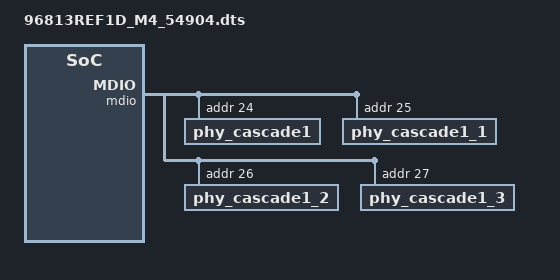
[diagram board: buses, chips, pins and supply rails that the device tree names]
#include "96813REF1D_M4.dts"

&mdio {
    /* Port PHY mapping:
            port_gphy0 <----> phy_gphy0
            port_gphy1 <----> phy_gphy1
            port_gphy2 <----> phy_gphy2
            port_gphy3 <----> phy_gphy3
            port_xphy <-----> phy_xphy
            port_sgmii1 <---> phy_serdes0   - phy_cascade0
            port_sgmii2 <---> phy_serdes1   - phy_cascade1
            port_sgmii2_1 <-> phy_serdes1_1 - phy_cascade1_1
            port_sgmii2_2 <-> phy_serdes1_2 - phy_cascade1_2
            port_sgmii2_3 <-> phy_serdes1_3 - phy_cascade1_3
     */

	phy_cascade1 {
        reg = <24>;
	};

	phy_cascade1_1 {
        reg = <25>;
	};

	phy_cascade1_2 {
        reg = <26>;
	};

	phy_cascade1_3 {
        reg = <27>;
	};
};

